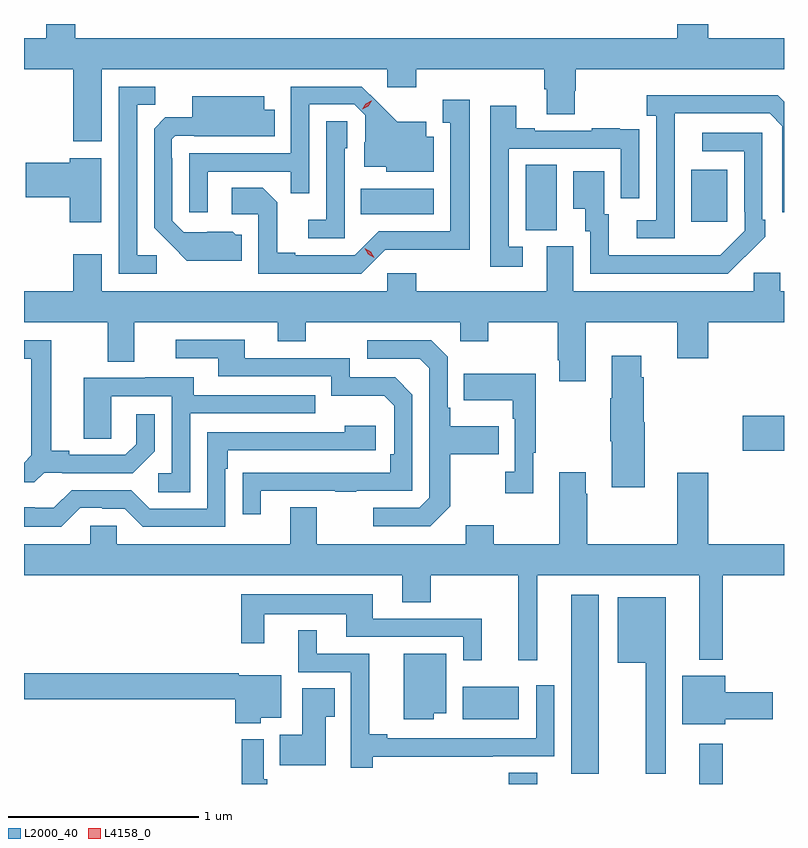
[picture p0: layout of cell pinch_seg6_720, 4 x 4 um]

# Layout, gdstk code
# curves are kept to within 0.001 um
import gdstk
lib = gdstk.Library(unit=1e-6, precision=1e-09)
def R(c, l, rs):  # rectangles x0, y0, x1, y1
    for r in rs: c.add(gdstk.rectangle(r[:2], r[2:], *l))
def P(c, l, *ps):  # polygons
    for p in ps: c.add(gdstk.Polygon(p, *l))
L2000_40 = (2000, 40)
L4158_0 = (4158, 0)

pinch_seg6_720 = lib.new_cell('pinch_seg6_720')
R(pinch_seg6_720, L2000_40, [(619.664,934.25,619.816,934.31), (620.669,934.25,620.791,934.462), (619.994,934.305,620.14,935.245), (619.424,934.592,619.717,934.762), (620.898,936.005,621.114,936.188), (619.754,937.165,619.918,937.508), (620.627,937.209,620.815,937.483), (618.886,937.25,619.27,937.384)])
P(pinch_seg6_720, L2000_40, [(617.524,938.012),(619.026,938.012),(619.026,937.917),(619.178,937.917),(619.178,938.012),(619.853,938.012),(619.853,937.906),(619.865,937.906),(619.865,937.774),(620.013,937.774),(620.013,937.899),(620.018,937.899),(620.018,938.012),(621.114,938.012),(621.114,938.176),(620.716,938.176),(620.716,938.25),(620.552,938.25),(620.552,938.176),(617.384,938.176),(617.384,938.25),(617.232,938.25),(617.232,938.176),(617.114,938.176),(617.114,938.012),(617.372,938.012),(617.372,937.632),(617.524,937.632)],
  [(618.081,937.473),(618.517,937.473),(618.517,937.36),(618.615,937.36),(618.615,937.827),(618.852,937.827),(618.909,937.77),(618.909,937.628),(618.905,937.628),(618.905,937.499),(619.02,937.499),(619.02,937.472),(619.27,937.472),(619.27,937.657),(619.231,937.657),(619.231,937.735),(619.079,937.735),(618.892,937.92),(618.519,937.92),(618.519,937.569),(617.985,937.569),(617.985,937.26),(618.081,937.26)],
  [(617.812,937.032),(617.709,937.032),(617.709,937.825),(617.805,937.825),(617.805,937.92),(617.613,937.92),(617.613,936.936),(617.812,936.936)],
  [(620.538,937.579),(620.539,937.779),(621.039,937.779),(621.105,937.713),(621.105,937.26),(621.114,937.26),(621.114,937.842),(621.08,937.876),(620.391,937.876),(620.391,937.766),(620.442,937.766),(620.442,937.218),(620.34,937.218),(620.34,937.122),(620.538,937.122)],
  [(618.259,937.14),(618.228,937.14),(618.212,937.156),(617.955,937.155),(617.895,937.215),(617.895,937.544),(617.892,937.544),(617.892,937.644),(617.91,937.662),(618.01,937.662),(618.01,937.658),(618.434,937.658),(618.434,937.798),(618.379,937.798),(618.379,937.87),(617.999,937.87),(617.999,937.759),(617.858,937.759),(617.799,937.7),(617.799,937.178),(617.971,937.004),(618.259,937.004)],
  [(619.014,937.062),(619.459,937.061),(619.459,937.852),(619.319,937.852),(619.319,937.731),(619.358,937.731),(619.358,937.158),(618.981,937.158),(618.855,937.032),(618.541,937.032),(618.541,937.045),(618.447,937.045),(618.447,937.312),(618.371,937.388),(618.207,937.388),(618.207,937.248),(618.348,937.248),(618.348,936.936),(618.888,936.936)],
  [(619.738,937.077),(619.665,937.077),(619.665,937.593),(620.256,937.593),(620.256,937.332),(620.352,937.332),(620.352,937.586),(620.351,937.586),(620.351,937.695),(620.249,937.695),(620.249,937.702),(620.101,937.702),(620.101,937.689),(619.801,937.689),(619.801,937.702),(619.705,937.702),(619.705,937.819),(619.569,937.819),(619.569,936.972),(619.738,936.972)],
  [(618.801,937.596),(618.816,937.596),(618.816,937.739),(618.705,937.739),(618.705,937.219),(618.609,937.219),(618.609,937.122),(618.801,937.122)],
  [(620.909,937.027),(620.91,937.026),(621.015,937.131),(621.015,937.219),(621,937.219),(621,937.677),(620.685,937.677),(620.685,937.581),(620.904,937.581),(620.904,937.261),(620.907,937.261),(620.907,937.161),(620.779,937.033),(620.191,937.032),(620.191,937.248),(620.167,937.248),(620.167,937.474),(620.006,937.474),(620.006,937.277),(620.069,937.277),(620.069,937.158),(620.094,937.158),(620.094,936.936),(620.818,936.936)],
  [(617.521,937.543),(617.354,937.543),(617.354,937.52),(617.124,937.52),(617.124,937.337),(617.354,937.337),(617.354,937.206),(617.521,937.206)],
  [(620.071,936.68),(620.552,936.68),(620.552,936.492),(620.716,936.492),(620.716,936.68),(621.114,936.68),(621.114,936.844),(621.094,936.844),(621.094,936.942),(620.955,936.942),(620.955,936.844),(620.005,936.844),(620.005,937.08),(619.865,937.08),(619.865,936.844),(619.178,936.844),(619.178,936.937),(619.026,936.937),(619.026,936.844),(617.524,936.844),(617.524,937.039),(617.372,937.039),(617.372,936.844),(617.114,936.844),(617.114,936.68),(617.555,936.68),(617.555,936.472),(617.695,936.472),(617.695,936.68),(618.449,936.68),(618.449,936.581),(618.597,936.581),(618.597,936.68),(619.41,936.68),(619.41,936.581),(619.557,936.581),(619.557,936.68),(619.924,936.68),(619.924,936.481),(619.931,936.481),(619.931,936.369),(620.071,936.369)],
  [(618.361,935.793),(618.751,935.793),(618.751,935.788),(618.863,935.788),(618.863,935.793),(619.158,935.793),(619.158,936.3),(619.068,936.39),(618.828,936.39),(618.828,936.492),(618.277,936.492),(618.277,936.588),(617.913,936.588),(617.913,936.492),(618.137,936.492),(618.137,936.396),(618.732,936.396),(618.732,936.293),(619.009,936.293),(619.062,936.24),(619.062,935.986),(619.042,935.986),(619.042,935.889),(618.265,935.888),(618.265,935.67),(618.361,935.67)],
  [(619.357,935.713),(619.357,935.986),(619.613,935.986),(619.613,936.133),(619.357,936.133),(619.357,936.229),(619.344,936.229),(619.344,936.498),(619.257,936.585),(618.921,936.585),(618.921,936.489),(619.197,936.489),(619.248,936.438),(619.248,935.757),(619.194,935.703),(618.951,935.703),(618.951,935.607),(619.251,935.607)],
  [(617.22,935.889),(617.314,935.889),(617.314,935.886),(617.686,935.886),(617.802,936.002),(617.802,936.196),(617.705,936.196),(617.705,936.039),(617.648,935.982),(617.353,935.982),(617.353,936.005),(617.257,936.005),(617.257,936.585),(617.114,936.585),(617.114,936.489),(617.153,936.489),(617.153,935.981),(617.114,935.942),(617.114,935.837),(617.168,935.837)],
  [(620.38,936.153),(620.375,936.153),(620.375,936.392),(620.362,936.392),(620.362,936.505),(620.207,936.505),(620.207,936.281),(620.2,936.281),(620.2,936.053),(620.207,936.053),(620.207,935.813),(620.38,935.813)],
  [(619.795,935.993),(619.807,935.993),(619.807,936.409),(619.429,936.409),(619.429,936.269),(619.686,936.269),(619.686,936.173),(619.698,936.173),(619.698,935.894),(619.647,935.894),(619.647,935.781),(619.795,935.781)],
  [(617.988,936.201),(618.647,936.201),(618.647,936.297),(618.007,936.297),(618.007,936.391),(617.753,936.391),(617.753,936.387),(617.429,936.387),(617.429,936.067),(617.574,936.067),(617.574,936.291),(617.892,936.291),(617.892,935.886),(617.82,935.886),(617.82,935.785),(617.988,935.785)],
  [(617.409,935.703),(617.525,935.703),(617.525,935.7),(617.643,935.7),(617.739,935.604),(618.174,935.604),(618.174,935.909),(618.187,935.909),(618.187,936.006),(618.964,936.006),(618.964,936.136),(618.803,936.136),(618.803,936.102),(618.078,936.102),(618.078,935.7),(617.775,935.7),(617.679,935.796),(617.364,935.796),(617.271,935.703),(617.171,935.703),(617.171,935.707),(617.114,935.707),(617.114,935.603),(617.309,935.603)],
  [(619.814,935.348),(620.669,935.348),(620.669,934.904),(620.791,934.904),(620.791,935.348),(621.114,935.348),(621.114,935.512),(620.716,935.512),(620.716,935.887),(620.552,935.887),(620.552,935.512),(620.079,935.512),(620.079,935.777),(620.071,935.777),(620.071,935.89),(619.931,935.89),(619.931,935.512),(619.587,935.512),(619.587,935.611),(619.439,935.611),(619.439,935.512),(618.655,935.512),(618.655,935.707),(618.515,935.707),(618.515,935.512),(617.601,935.512),(617.601,935.61),(617.463,935.61),(617.463,935.512),(617.114,935.512),(617.114,935.348),(619.106,935.348),(619.106,935.206),(619.254,935.206),(619.254,935.348),(619.715,935.348),(619.715,934.902),(619.814,934.902)],
  [(619.523,935.121),(618.949,935.121),(618.949,935.248),(618.258,935.248),(618.258,934.992),(618.379,934.992),(618.379,935.144),(618.809,935.144),(618.809,935.025),(619.425,935.025),(619.425,934.902),(619.523,934.902)],
  [(620.491,935.233),(620.24,935.233),(620.24,934.889),(620.387,934.889),(620.387,934.305),(620.491,934.305)],
  [(618.95,934.394),(619.58,934.394),(619.58,934.395),(619.905,934.395),(619.905,934.771),(619.809,934.771),(619.809,934.491),(619.027,934.491),(619.027,934.511),(618.932,934.511),(618.932,934.935),(618.655,934.935),(618.655,935.059),(618.557,935.059),(618.557,934.839),(618.834,934.839),(618.834,934.335),(618.95,934.335)],
  [(619.27,934.622),(619.336,934.622),(619.336,934.936),(619.112,934.936),(619.112,934.592),(619.27,934.592)],
  [(618.36,934.598),(618.469,934.598),(618.469,934.822),(618.243,934.822),(618.243,934.832),(617.114,934.832),(617.114,934.696),(618.227,934.696),(618.227,934.571),(618.36,934.571)],
  [(620.806,934.591),(621.055,934.591),(621.055,934.733),(620.806,934.733),(620.806,934.819),(620.579,934.819),(620.579,934.565),(620.806,934.565)],
  [(618.703,934.603),(618.749,934.603),(618.749,934.754),(618.578,934.754),(618.578,934.51),(618.46,934.51),(618.46,934.349),(618.703,934.349)],
  [(618.395,934.276),(618.375,934.276),(618.375,934.486),(618.259,934.486),(618.259,934.25),(618.395,934.25)])
P(pinch_seg6_720, L4158_0, [(618.957,937.019),(618.925,937.038),(618.907,937.071),(618.907,937.071),(618.908,937.071),(618.939,937.052),(618.957,937.02),(618.957,937.019)],
  [(618.894,937.801),(618.894,937.802),(618.912,937.831),(618.942,937.846),(618.943,937.846),(618.943,937.845),(618.925,937.816),(618.894,937.801)])

lib.write_gds('pinch_seg6_720.gds')
